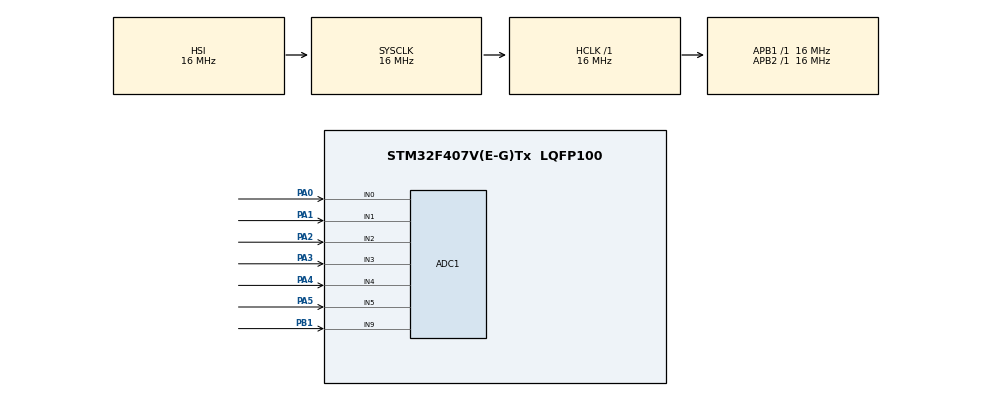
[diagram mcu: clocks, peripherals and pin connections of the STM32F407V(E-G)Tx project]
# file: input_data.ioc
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ADC1.Channel-0\#ChannelRegularConversion=ADC_CHANNEL_0
ADC1.ContinuousConvMode=ENABLE
ADC1.NbrOfConversionFlag=1
ADC1.Rank-0\#ChannelRegularConversion=1
ADC1.SamplingTime-0\#ChannelRegularConversion=ADC_SAMPLETIME_3CYCLES
ADC1.master=1
Mcu.Family=STM32F4
Mcu.Name=STM32F407V(E-G)Tx
Mcu.Package=LQFP100
NVIC.PriorityGroup=NVIC_PRIORITYGROUP_4
PA0-WKUP.Signal=ADCx_IN0
PA1.Signal=ADCx_IN1
PA13.Mode=Serial_Wire
PA13.Signal=SYS_JTMS-SWDIO
PA14.Mode=Serial_Wire
PA14.Signal=SYS_JTCK-SWCLK
PA2.Signal=ADCx_IN2
PA3.Signal=ADCx_IN3
PA4.Signal=ADCx_IN4
PA5.Signal=ADCx_IN5
PB1.Signal=ADCx_IN9
ProjectManager.HeapSize=0x200
ProjectManager.StackSize=0x400
ProjectManager.TargetToolchain=STM32CubeIDE
RCC.AHBFreq_Value=16000000
RCC.APB1Freq_Value=16000000
RCC.APB2Freq_Value=16000000
RCC.CortexFreq_Value=16000000
RCC.HSE_VALUE=25000000
RCC.HSI_VALUE=16000000
RCC.LSE_VALUE=32768
RCC.SYSCLKFreq_VALUE=16000000
RCC.VCOOutputFreq_Value=192000000
SH.ADCx_IN0.0=ADC1_IN0,IN0
SH.ADCx_IN1.0=ADC1_IN1,IN1
SH.ADCx_IN2.0=ADC1_IN2,IN2
SH.ADCx_IN3.0=ADC1_IN3,IN3
SH.ADCx_IN4.0=ADC1_IN4,IN4
SH.ADCx_IN5.0=ADC1_IN5,IN5
SH.ADCx_IN9.0=ADC1_IN9,IN9
board=custom

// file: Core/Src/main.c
/* USER CODE BEGIN Header */
/**
  ******************************************************************************
  * @file           : main.c
  * @brief          : Main program body
  ******************************************************************************
  * @attention
  *
  * Copyright (c) 2024 STMicroelectronics.
  * All rights reserved.
  *
  * This software is licensed under terms that can be found in the LICENSE file
  * in the root directory of this software component.
  * If no LICENSE file comes with this software, it is provided AS-IS.
  *
  ******************************************************************************
  */
/* USER CODE END Header */
#include "main.h"

ADC_HandleTypeDef hadc1;

/* USER CODE BEGIN PV */
uint32_t adc_value[5]; //for the voltage array
float voltage;
uint16_t readValue; //for the current
float sensitivity = 0.1; // 0.1 for 20A Model
float rawVoltage;
float current;
uint32_t adc_value_temp;
float temperature ;      //for temperature
/* USER CODE END PV */

void SystemClock_Config(void);
static void MX_GPIO_Init(void);
static void MX_ADC1_Init(void);

int main(void)
{

  /* MCU Configuration--------------------------------------------------------*/

  /* Reset of all peripherals, Initializes the Flash interface and the Systick. */
  HAL_Init();

  /* Configure the system clock */
  SystemClock_Config();

  /* Initialize all configured peripherals */
  MX_GPIO_Init();
  MX_ADC1_Init();
  /* USER CODE BEGIN 2 */
  HAL_ADC_Start(&hadc1);
  /* USER CODE END 2 */

  /* Infinite loop */
  /* USER CODE BEGIN WHILE */
  while (1)
  {
	  for (int i = 0; i < 5; i++)
	  {
	  HAL_ADC_PollForConversion(&hadc1,1000);
	  adc_value[i]  = HAL_ADC_GetValue(&hadc1);
	  voltage =(float)adc_value[i]/4095*16.5;
	     HAL_Delay(1000);
	  }

	  //for current code

	     HAL_ADC_PollForConversion(&hadc1,1000);
	    readValue = HAL_ADC_GetValue(&hadc1);
	    rawVoltage = (float) readValue * 3.3 * 2 / 4095;
	    // If rawVoltage is not 2.5Volt, multiply by a factor.In my case it is 1.035
	    // This is due to tolerance in voltage divider resister & ADC accuracy
	    current =(rawVoltage - 2.5)/sensitivity;
	    HAL_Delay (100);

	    //for temperature code

	    HAL_ADC_PollForConversion(&hadc1,1000);
	    adc_value_temp = HAL_ADC_GetValue(&hadc1);
	    float temperature = (adc_value_temp * 3.3 / 4096) * 100; // LM35 gives 10mV per degree Celsius
	    HAL_Delay(1000);

    /* USER CODE END WHILE */

  }
}

void SystemClock_Config(void)
{
  RCC_OscInitTypeDef RCC_OscInitStruct = {0};
  RCC_ClkInitTypeDef RCC_ClkInitStruct = {0};

  /** Configure the main internal regulator output voltage
  */
  __HAL_RCC_PWR_CLK_ENABLE();
  __HAL_PWR_VOLTAGESCALING_CONFIG(PWR_REGULATOR_VOLTAGE_SCALE1);

  /** Initializes the RCC Oscillators according to the specified parameters
  * in the RCC_OscInitTypeDef structure.
  */
  RCC_OscInitStruct.OscillatorType = RCC_OSCILLATORTYPE_HSI;
  RCC_OscInitStruct.HSIState = RCC_HSI_ON;
  RCC_OscInitStruct.HSICalibrationValue = RCC_HSICALIBRATION_DEFAULT;
  RCC_OscInitStruct.PLL.PLLState = RCC_PLL_NONE;
  if (HAL_RCC_OscConfig(&RCC_OscInitStruct) != HAL_OK)
  {
    Error_Handler();
  }

  /** Initializes the CPU, AHB and APB buses clocks
  */
  RCC_ClkInitStruct.ClockType = RCC_CLOCKTYPE_HCLK|RCC_CLOCKTYPE_SYSCLK
                              |RCC_CLOCKTYPE_PCLK1|RCC_CLOCKTYPE_PCLK2;
  RCC_ClkInitStruct.SYSCLKSource = RCC_SYSCLKSOURCE_HSI;
  RCC_ClkInitStruct.AHBCLKDivider = RCC_SYSCLK_DIV1;
  RCC_ClkInitStruct.APB1CLKDivider = RCC_HCLK_DIV1;
  RCC_ClkInitStruct.APB2CLKDivider = RCC_HCLK_DIV1;

  if (HAL_RCC_ClockConfig(&RCC_ClkInitStruct, FLASH_LATENCY_0) != HAL_OK)
  {
    Error_Handler();
  }
}

static void MX_ADC1_Init(void)
{

  ADC_ChannelConfTypeDef sConfig = {0};

  /** Configure the global features of the ADC (Clock, Resolution, Data Alignment and number of conversion)
  */
  hadc1.Instance = ADC1;
  hadc1.Init.ClockPrescaler = ADC_CLOCK_SYNC_PCLK_DIV2;
  hadc1.Init.Resolution = ADC_RESOLUTION_12B;
  hadc1.Init.ScanConvMode = DISABLE;
  hadc1.Init.ContinuousConvMode = ENABLE;
  hadc1.Init.DiscontinuousConvMode = DISABLE;
  hadc1.Init.ExternalTrigConvEdge = ADC_EXTERNALTRIGCONVEDGE_NONE;
  hadc1.Init.ExternalTrigConv = ADC_SOFTWARE_START;
  hadc1.Init.DataAlign = ADC_DATAALIGN_RIGHT;
  hadc1.Init.NbrOfConversion = 1;
  hadc1.Init.DMAContinuousRequests = DISABLE;
  hadc1.Init.EOCSelection = ADC_EOC_SINGLE_CONV;
  if (HAL_ADC_Init(&hadc1) != HAL_OK)
  {
    Error_Handler();
  }

  /** Configure for the selected ADC regular channel its corresponding rank in the sequencer and its sample time.
  */
  sConfig.Channel = ADC_CHANNEL_0;
  sConfig.Rank = 1;
  sConfig.SamplingTime = ADC_SAMPLETIME_3CYCLES;
  if (HAL_ADC_ConfigChannel(&hadc1, &sConfig) != HAL_OK)
  {
    Error_Handler();
  }

}

static void MX_GPIO_Init(void)
{

  /* GPIO Ports Clock Enable */
  __HAL_RCC_GPIOA_CLK_ENABLE();
  __HAL_RCC_GPIOB_CLK_ENABLE();

}

void Error_Handler(void)
{
  __disable_irq();
  while (1)
  {
  }
}
